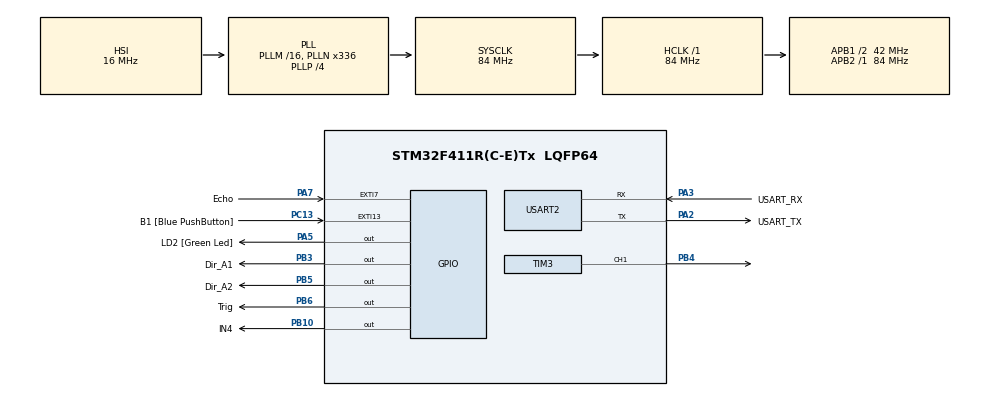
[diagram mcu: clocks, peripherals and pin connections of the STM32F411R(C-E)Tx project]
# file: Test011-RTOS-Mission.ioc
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FREERTOS.BinarySemaphores01=myBinarySem01,Dynamic,NULL
FREERTOS.Tasks01=myTask01,0,128,Task1,Default,NULL,Dynamic,NULL,NULL;myTask02,-1,128,Task02,Default,NULL,Dynamic,NULL,NULL;myTask03,-2,128,StartTask03,Default,NULL,Dynamic,NULL,NULL;myTask04,-3,128,StartTask04,Default,NULL,Dynamic,NULL,NULL
FREERTOS.configUSE_NEWLIB_REENTRANT=1
Mcu.Family=STM32F4
Mcu.Name=STM32F411R(C-E)Tx
Mcu.Package=LQFP64
NVIC.EXTI9_5_IRQn=true\:5\:0\:false\:false\:true\:false\:true\:true\:true
NVIC.PriorityGroup=NVIC_PRIORITYGROUP_4
NVIC.TIM1_UP_TIM10_IRQn=true\:15\:0\:false\:false\:true\:false\:false\:true\:true
NVIC.TimeBase=TIM1_UP_TIM10_IRQn
NVIC.TimeBaseIP=TIM10
PA13.GPIO_Label=TMS
PA13.Mode=Serial_Wire
PA13.Signal=SYS_JTMS-SWDIO
PA14.GPIO_Label=TCK
PA14.Mode=Serial_Wire
PA14.Signal=SYS_JTCK-SWCLK
PA2.GPIO_Label=USART_TX
PA2.Mode=Asynchronous
PA2.Signal=USART2_TX
PA3.GPIO_Label=USART_RX
PA3.Mode=Asynchronous
PA3.Signal=USART2_RX
PA5.GPIO_Label=LD2 [Green Led]
PA5.Signal=GPIO_Output
PA7.GPIO_Label=Echo
PA7.GPIO_ModeDefaultEXTI=GPIO_MODE_IT_RISING_FALLING
PA7.Signal=GPXTI7
PB10.GPIO_Label=IN4
PB10.Signal=GPIO_Output
PB3.GPIO_Label=Dir_A1
PB3.Signal=GPIO_Output
PB4.Signal=S_TIM3_CH1
PB5.GPIO_Label=Dir_A2
PB5.Signal=GPIO_Output
PB6.GPIO_Label=Trig
PB6.Signal=GPIO_Output
PC13-ANTI_TAMP.GPIO_Label=B1 [Blue PushButton]
PC13-ANTI_TAMP.GPIO_ModeDefaultEXTI=GPIO_MODE_IT_FALLING
PC13-ANTI_TAMP.Signal=GPXTI13
PC14-OSC32_IN.Mode=LSE-External-Oscillator
PC14-OSC32_IN.Signal=RCC_OSC32_IN
PC15-OSC32_OUT.Mode=LSE-External-Oscillator
PC15-OSC32_OUT.Signal=RCC_OSC32_OUT
PH0\ -\ OSC_IN.Mode=HSE-External-Clock-Source
PH0\ -\ OSC_IN.Signal=RCC_OSC_IN
PH1\ -\ OSC_OUT.Mode=HSE-External-Clock-Source
PH1\ -\ OSC_OUT.Signal=RCC_OSC_OUT
ProjectManager.HeapSize=0x200
ProjectManager.StackSize=0x400
ProjectManager.TargetToolchain=STM32CubeIDE
RCC.48MHZClocksFreq_Value=84000000
RCC.AHBFreq_Value=84000000
RCC.APB1CLKDivider=RCC_HCLK_DIV2
RCC.APB1Freq_Value=42000000
RCC.APB1TimFreq_Value=84000000
RCC.APB2Freq_Value=84000000
RCC.APB2TimFreq_Value=84000000
RCC.CortexFreq_Value=84000000
RCC.FLatency-AdvancedSettings=FLASH_LATENCY_2
RCC.HCLKFreq_Value=84000000
RCC.HSE_VALUE=8000000
RCC.HSI_VALUE=16000000
RCC.PLLN=336
RCC.PLLP=RCC_PLLP_DIV4
RCC.SYSCLKFreq_VALUE=84000000
RCC.SYSCLKSource=RCC_SYSCLKSOURCE_PLLCLK
RCC.VCOOutputFreq_Value=336000000
SH.S_TIM3_CH1.0=TIM3_CH1,PWM Generation1 CH1
TIM2.Prescaler=84-1
TIM3.Channel-PWM\ Generation1\ CH1=TIM_CHANNEL_1
TIM3.Period=1000-1
TIM3.Prescaler=84-1
USART2.VirtualMode=VM_ASYNC
VP_FREERTOS_VS_CMSIS_V1.Mode=CMSIS_V1
VP_SYS_VS_tim10.Mode=TIM10
VP_TIM2_VS_ClockSourceINT.Mode=Internal
board=NUCLEO-F411RE

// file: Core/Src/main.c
/* USER CODE BEGIN Header */
/**
  ******************************************************************************
  * @file           : main.c
  * @brief          : Main program body
  ******************************************************************************
  * @attention
  *
  * Copyright (c) 2025 STMicroelectronics.
  * All rights reserved.
  *
  * This software is licensed under terms that can be found in the LICENSE file
  * in the root directory of this software component.
  * If no LICENSE file comes with this software, it is provided AS-IS.
  *
  ******************************************************************************
  */
/* USER CODE END Header */
#include "main.h"
#include "cmsis_os.h"

TIM_HandleTypeDef htim2;
TIM_HandleTypeDef htim3;

UART_HandleTypeDef huart2;

osThreadId myTask01Handle;
osThreadId myTask02Handle;
osThreadId myTask03Handle;
osThreadId myTask04Handle;
osSemaphoreId myBinarySem01Handle;

void SystemClock_Config(void);
static void MX_GPIO_Init(void);
static void MX_USART2_UART_Init(void);
static void MX_TIM2_Init(void);
static void MX_TIM3_Init(void);
void Task1(void const * argument);
void Task02(void const * argument);
void StartTask03(void const * argument);
void StartTask04(void const * argument);

/* USER CODE BEGIN 0 */
void microDelay(int us)  //us : micro second
{
	//int t1 = htim2.Instance->CNT;
	//while(htim2.Instance->CNT - t1 > us);

	htim2.Instance->CNT = 0;
	while(htim2.Instance->CNT < us);
}
void Trigger()
{
	  HAL_GPIO_WritePin(Trig_GPIO_Port, Trig_Pin, 0);
	  microDelay(10);
	  HAL_GPIO_WritePin(Trig_GPIO_Port, Trig_Pin, 1);
	  microDelay(10);
	  HAL_GPIO_WritePin(Trig_GPIO_Port, Trig_Pin, 0);
}

volatile int t0=0, t1=0;
int dist = 0;	//mm 1/1000m
void HAL_GPIO_EXTI_Callback(uint16_t GPIO_Pin)
{
	if(GPIO_Pin == Echo_Pin)
	{
		int tt = htim2.Instance->CNT;
		if(HAL_GPIO_ReadPin(Echo_GPIO_Port,Echo_Pin) == 1)
		{
			t0 = tt; // = 0; t0 = 0;
		}
		else
		{
			t1 = tt;
			dist = (double)(t1 - t0) * 0.17;
		}
	}
}

/* USER CODE END 0 */

int main(void)
{

  /* MCU Configuration--------------------------------------------------------*/

  /* Reset of all peripherals, Initializes the Flash interface and the Systick. */
  HAL_Init();

  /* Configure the system clock */
  SystemClock_Config();

  /* Initialize all configured peripherals */
  MX_GPIO_Init();
  MX_USART2_UART_Init();
  MX_TIM2_Init();
  MX_TIM3_Init();

  /* Create the semaphores(s) */
  /* definition and creation of myBinarySem01 */
  osSemaphoreDef(myBinarySem01);
  myBinarySem01Handle = osSemaphoreCreate(osSemaphore(myBinarySem01), 1);

  /* Create the thread(s) */
  /* definition and creation of myTask01 */
  osThreadDef(myTask01, Task1, osPriorityNormal, 0, 128);
  myTask01Handle = osThreadCreate(osThread(myTask01), NULL);

  /* definition and creation of myTask02 */
  osThreadDef(myTask02, Task02, osPriorityBelowNormal, 0, 128);
  myTask02Handle = osThreadCreate(osThread(myTask02), NULL);

  /* definition and creation of myTask03 */
  osThreadDef(myTask03, StartTask03, osPriorityLow, 0, 128);
  myTask03Handle = osThreadCreate(osThread(myTask03), NULL);

  /* definition and creation of myTask04 */
  osThreadDef(myTask04, StartTask04, osPriorityIdle, 0, 128);
  myTask04Handle = osThreadCreate(osThread(myTask04), NULL);

  /* USER CODE BEGIN RTOS_THREADS */
  /* add threads, ... */
  ProgramStart("RTOS - Mission");
  HAL_TIM_Base_Start(&htim2);
  HAL_GPIO_WritePin(Dir_A1_GPIO_Port, Dir_A1_Pin, 1);
  HAL_GPIO_WritePin(Dir_A2_GPIO_Port, Dir_A2_Pin, 0);
  HAL_TIM_PWM_Start(&htim3, TIM_CHANNEL_1);
  /* USER CODE END RTOS_THREADS */

  /* Start scheduler */
  osKernelStart();

  /* We should never get here as control is now taken by the scheduler */
  /* Infinite loop */
  /* USER CODE BEGIN WHILE */
  while (1)
  {
	//  for(int i = 0; i <4096; i++)
	  {
		//  step_half((i%8)+1); HAL_Delay(1);
	  }
    /* USER CODE END WHILE */

  }
}

void SystemClock_Config(void)
{
  RCC_OscInitTypeDef RCC_OscInitStruct = {0};
  RCC_ClkInitTypeDef RCC_ClkInitStruct = {0};

  /** Configure the main internal regulator output voltage
  */
  __HAL_RCC_PWR_CLK_ENABLE();
  __HAL_PWR_VOLTAGESCALING_CONFIG(PWR_REGULATOR_VOLTAGE_SCALE1);

  /** Initializes the RCC Oscillators according to the specified parameters
  * in the RCC_OscInitTypeDef structure.
  */
  RCC_OscInitStruct.OscillatorType = RCC_OSCILLATORTYPE_HSI;
  RCC_OscInitStruct.HSIState = RCC_HSI_ON;
  RCC_OscInitStruct.HSICalibrationValue = RCC_HSICALIBRATION_DEFAULT;
  RCC_OscInitStruct.PLL.PLLState = RCC_PLL_ON;
  RCC_OscInitStruct.PLL.PLLSource = RCC_PLLSOURCE_HSI;
  RCC_OscInitStruct.PLL.PLLM = 16;
  RCC_OscInitStruct.PLL.PLLN = 336;
  RCC_OscInitStruct.PLL.PLLP = RCC_PLLP_DIV4;
  RCC_OscInitStruct.PLL.PLLQ = 4;
  if (HAL_RCC_OscConfig(&RCC_OscInitStruct) != HAL_OK)
  {
    Error_Handler();
  }

  /** Initializes the CPU, AHB and APB buses clocks
  */
  RCC_ClkInitStruct.ClockType = RCC_CLOCKTYPE_HCLK|RCC_CLOCKTYPE_SYSCLK
                              |RCC_CLOCKTYPE_PCLK1|RCC_CLOCKTYPE_PCLK2;
  RCC_ClkInitStruct.SYSCLKSource = RCC_SYSCLKSOURCE_PLLCLK;
  RCC_ClkInitStruct.AHBCLKDivider = RCC_SYSCLK_DIV1;
  RCC_ClkInitStruct.APB1CLKDivider = RCC_HCLK_DIV2;
  RCC_ClkInitStruct.APB2CLKDivider = RCC_HCLK_DIV1;

  if (HAL_RCC_ClockConfig(&RCC_ClkInitStruct, FLASH_LATENCY_2) != HAL_OK)
  {
    Error_Handler();
  }
}

static void MX_TIM2_Init(void)
{

  TIM_ClockConfigTypeDef sClockSourceConfig = {0};
  TIM_MasterConfigTypeDef sMasterConfig = {0};

  htim2.Instance = TIM2;
  htim2.Init.Prescaler = 84-1;
  htim2.Init.CounterMode = TIM_COUNTERMODE_UP;
  htim2.Init.Period = 4294967295;
  htim2.Init.ClockDivision = TIM_CLOCKDIVISION_DIV1;
  htim2.Init.AutoReloadPreload = TIM_AUTORELOAD_PRELOAD_DISABLE;
  if (HAL_TIM_Base_Init(&htim2) != HAL_OK)
  {
    Error_Handler();
  }
  sClockSourceConfig.ClockSource = TIM_CLOCKSOURCE_INTERNAL;
  if (HAL_TIM_ConfigClockSource(&htim2, &sClockSourceConfig) != HAL_OK)
  {
    Error_Handler();
  }
  sMasterConfig.MasterOutputTrigger = TIM_TRGO_RESET;
  sMasterConfig.MasterSlaveMode = TIM_MASTERSLAVEMODE_DISABLE;
  if (HAL_TIMEx_MasterConfigSynchronization(&htim2, &sMasterConfig) != HAL_OK)
  {
    Error_Handler();
  }

}

static void MX_TIM3_Init(void)
{

  TIM_MasterConfigTypeDef sMasterConfig = {0};
  TIM_OC_InitTypeDef sConfigOC = {0};

  htim3.Instance = TIM3;
  htim3.Init.Prescaler = 84-1;
  htim3.Init.CounterMode = TIM_COUNTERMODE_UP;
  htim3.Init.Period = 1000-1;
  htim3.Init.ClockDivision = TIM_CLOCKDIVISION_DIV1;
  htim3.Init.AutoReloadPreload = TIM_AUTORELOAD_PRELOAD_DISABLE;
  if (HAL_TIM_PWM_Init(&htim3) != HAL_OK)
  {
    Error_Handler();
  }
  sMasterConfig.MasterOutputTrigger = TIM_TRGO_RESET;
  sMasterConfig.MasterSlaveMode = TIM_MASTERSLAVEMODE_DISABLE;
  if (HAL_TIMEx_MasterConfigSynchronization(&htim3, &sMasterConfig) != HAL_OK)
  {
    Error_Handler();
  }
  sConfigOC.OCMode = TIM_OCMODE_PWM1;
  sConfigOC.Pulse = 0;
  sConfigOC.OCPolarity = TIM_OCPOLARITY_HIGH;
  sConfigOC.OCFastMode = TIM_OCFAST_DISABLE;
  if (HAL_TIM_PWM_ConfigChannel(&htim3, &sConfigOC, TIM_CHANNEL_1) != HAL_OK)
  {
    Error_Handler();
  }
  HAL_TIM_MspPostInit(&htim3);

}

static void MX_USART2_UART_Init(void)
{

  huart2.Instance = USART2;
  huart2.Init.BaudRate = 115200;
  huart2.Init.WordLength = UART_WORDLENGTH_8B;
  huart2.Init.StopBits = UART_STOPBITS_1;
  huart2.Init.Parity = UART_PARITY_NONE;
  huart2.Init.Mode = UART_MODE_TX_RX;
  huart2.Init.HwFlowCtl = UART_HWCONTROL_NONE;
  huart2.Init.OverSampling = UART_OVERSAMPLING_16;
  if (HAL_UART_Init(&huart2) != HAL_OK)
  {
    Error_Handler();
  }

}

static void MX_GPIO_Init(void)
{
  GPIO_InitTypeDef GPIO_InitStruct = {0};

  /* GPIO Ports Clock Enable */
  __HAL_RCC_GPIOC_CLK_ENABLE();
  __HAL_RCC_GPIOH_CLK_ENABLE();
  __HAL_RCC_GPIOA_CLK_ENABLE();
  __HAL_RCC_GPIOB_CLK_ENABLE();

  /*Configure GPIO pin Output Level */
  HAL_GPIO_WritePin(LD2_GPIO_Port, LD2_Pin, GPIO_PIN_RESET);

  /*Configure GPIO pin Output Level */
  HAL_GPIO_WritePin(GPIOB, IN4_Pin|Dir_A1_Pin|Dir_A2_Pin|Trig_Pin, GPIO_PIN_RESET);

  /*Configure GPIO pin : B1_Pin */
  GPIO_InitStruct.Pin = B1_Pin;
  GPIO_InitStruct.Mode = GPIO_MODE_IT_FALLING;
  GPIO_InitStruct.Pull = GPIO_NOPULL;
  HAL_GPIO_Init(B1_GPIO_Port, &GPIO_InitStruct);

  /*Configure GPIO pin : LD2_Pin */
  GPIO_InitStruct.Pin = LD2_Pin;
  GPIO_InitStruct.Mode = GPIO_MODE_OUTPUT_PP;
  GPIO_InitStruct.Pull = GPIO_NOPULL;
  GPIO_InitStruct.Speed = GPIO_SPEED_FREQ_LOW;
  HAL_GPIO_Init(LD2_GPIO_Port, &GPIO_InitStruct);

  /*Configure GPIO pin : Echo_Pin */
  GPIO_InitStruct.Pin = Echo_Pin;
  GPIO_InitStruct.Mode = GPIO_MODE_IT_RISING_FALLING;
  GPIO_InitStruct.Pull = GPIO_NOPULL;
  HAL_GPIO_Init(Echo_GPIO_Port, &GPIO_InitStruct);

  /*Configure GPIO pins : IN4_Pin Dir_A1_Pin Dir_A2_Pin Trig_Pin */
  GPIO_InitStruct.Pin = IN4_Pin|Dir_A1_Pin|Dir_A2_Pin|Trig_Pin;
  GPIO_InitStruct.Mode = GPIO_MODE_OUTPUT_PP;
  GPIO_InitStruct.Pull = GPIO_NOPULL;
  GPIO_InitStruct.Speed = GPIO_SPEED_FREQ_LOW;
  HAL_GPIO_Init(GPIOB, &GPIO_InitStruct);

  /* EXTI interrupt init*/
  HAL_NVIC_SetPriority(EXTI9_5_IRQn, 5, 0);
  HAL_NVIC_EnableIRQ(EXTI9_5_IRQn);

}

void Task1(void const * argument)
{
  /* USER CODE BEGIN 5 */
  /* Infinite loop */
  for(;;)
  {
	  if(osSemaphoreWait(myBinarySem01Handle,0) == osOK)
	  {
		  Trigger();
		  HAL_Delay(60);
		  osSemaphoreRelease(myBinarySem01Handle);
	  }
    osDelay(1);
  }
  /* USER CODE END 5 */
}

int dr = 30; dr1 = 30, dr2 = 50, dr3 = 90;
void Task02(void const * argument)
{
  /* USER CODE BEGIN Task02 */
  /* Infinite loop */
  for(;;)
  {
	  if(osSemaphoreWait(myBinarySem01Handle,0) == osOK)
	  {
		  if(dist < 500)
		  {
			  dr = 1;
		  }
		  else if(dist < 1000) dr = dr1;
		  else if(dist < 2000) dr = dr2;
		  else dr = dr3;
		  htim3.Instance->CCR1 = htim3.Instance->ARR * dr / 100;
		  osSemaphoreRelease(myBinarySem01Handle);
	  }
    osDelay(1);
  }
  /* USER CODE END Task02 */
}

void StartTask03(void const * argument)
{
  /* USER CODE BEGIN StartTask03 */
  /* Infinite loop */
  for(;;)
  {
	/*  if(osSemaphoreWait(myBinarySem01Handle,0) == osOK)
	  {
	  int ccr1 = 0, op = 10;

		  if (dist < 100)
		  {
			  printf("object detected, stop. %d mm \r\n",dist);
		  htim3.Instance->CCR1 = 0;
		  osSemaphoreRelease(myBinarySem01Handle);

		  }
		  else
		  {
		  htim3.Instance->CCR1 = ccr1;
		  ccr1 += op;
		 // if((ccr1 > htim3.Instance->ARR) || (ccr1 < 0))
		 // {
			 // printf("Motor direction changed...(%d)\r\n", op);
			//  op*= -1;
		 // }
	}
		  osSemaphoreRelease(myBinarySem01Handle);
			 //osDelay(10);

*/

	    /* USER CODE END WHILE */

	    /* USER CODE BEGIN 3 */

    osDelay(1);
  }
  /* USER CODE END StartTask03 */
}

void StartTask04(void const * argument)
{
  /* USER CODE BEGIN StartTask04 */
  /* Infinite loop */
  for(;;)
  {
	  if(osSemaphoreWait(myBinarySem01Handle,0) == osOK)
	  {
		  int dm = dist / 1000; //meter
		  int dc = ((int)(dist / 10)) % 100;
		  printf("Current distance : %dm %dcm (%dmm) (%d-%d)\r\n", dm, dc, dist,t1,t0);
		  osSemaphoreRelease(myBinarySem01Handle);
	  }
    osDelay(1);
  }
  /* USER CODE END StartTask04 */
}

void HAL_TIM_PeriodElapsedCallback(TIM_HandleTypeDef *htim)
{
  if (htim->Instance == TIM10) {
    HAL_IncTick();
  }
}

void Error_Handler(void)
{
  __disable_irq();
  while (1)
  {
  }
}
